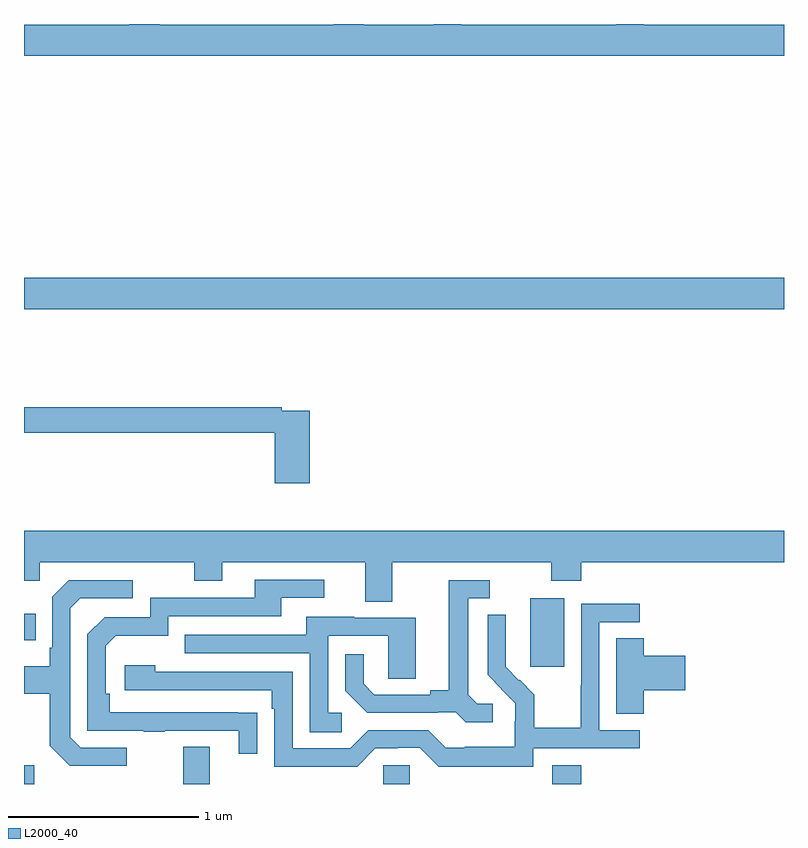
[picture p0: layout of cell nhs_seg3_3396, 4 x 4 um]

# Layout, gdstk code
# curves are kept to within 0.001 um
import gdstk
lib = gdstk.Library(unit=1e-6, precision=1e-09)
def R(c, l, rs):  # rectangles x0, y0, x1, y1
    for r in rs: c.add(gdstk.rectangle(r[:2], r[2:], *l))
def P(c, l, *ps):  # polygons
    for p in ps: c.add(gdstk.Polygon(p, *l))
L2000_40 = (2000, 40)

nhs_seg3_3396 = lib.new_cell('nhs_seg3_3396')
R(nhs_seg3_3396, L2000_40, [(287,714.4,287.053,714.499), (287.837,714.4,287.977,714.595), (288.891,714.4,289.029,714.498), (289.781,714.4,289.934,714.499), (289.664,715.017,289.843,715.378), (287,715.157,287.063,715.297), (287,716.9,291,717.064)])
P(nhs_seg3_3396, L2000_40, [(291,718.396),(290.263,718.396),(290.263,718.4),(290.116,718.4),(290.116,718.396),(289.302,718.396),(289.302,718.4),(289.156,718.4),(289.156,718.396),(288.789,718.396),(288.789,718.4),(288.629,718.4),(288.629,718.396),(287.714,718.396),(287.714,718.4),(287.554,718.4),(287.554,718.396),(287,718.396),(287,718.232),(291,718.232)],
  [(288.503,716.364),(288.356,716.364),(288.356,716.384),(287,716.384),(287,716.248),(288.32,716.248),(288.32,715.983),(288.503,715.983)],
  [(288.937,715.568),(289.774,715.568),(289.774,715.469),(289.934,715.469),(289.934,715.568),(291,715.568),(291,715.732),(287,715.732),(287,715.469),(287.082,715.469),(287.082,715.568),(287.896,715.568),(287.896,715.469),(288.043,715.469),(288.043,715.568),(288.797,715.568),(288.797,715.36),(288.937,715.36)],
  [(288.227,714.776),(287.45,714.777),(287.45,714.874),(287.43,714.874),(287.43,715.128),(287.483,715.181),(287.76,715.181),(287.76,715.284),(288.355,715.284),(288.355,715.38),(288.58,715.38),(288.58,715.476),(288.215,715.476),(288.215,715.38),(287.664,715.38),(287.664,715.278),(287.424,715.278),(287.334,715.188),(287.334,714.681),(287.629,714.681),(287.629,714.676),(287.741,714.676),(287.741,714.681),(288.131,714.681),(288.131,714.558),(288.227,714.558)],
  [(287.542,714.591),(287.298,714.591),(287.244,714.645),(287.244,715.326),(287.295,715.377),(287.572,715.377),(287.572,715.473),(287.235,715.473),(287.148,715.386),(287.148,715.117),(287.136,715.117),(287.136,715.021),(287,715.021),(287,714.874),(287.136,714.874),(287.136,714.601),(287.241,714.495),(287.542,714.495)],
  [(289.468,714.822),(289.386,714.822),(289.339,714.869),(289.339,715.377),(289.45,715.377),(289.45,715.473),(289.235,715.473),(289.235,714.893),(289.139,714.893),(289.139,714.87),(288.844,714.87),(288.787,714.927),(288.787,715.084),(288.69,715.084),(288.69,714.89),(288.806,714.774),(289.178,714.774),(289.178,714.777),(289.272,714.777),(289.324,714.725),(289.468,714.725)],
  [(289.68,714.588),(290.242,714.588),(290.242,714.684),(290.028,714.684),(290.028,715.251),(290.242,715.251),(290.242,715.35),(289.932,715.35),(289.932,714.92),(289.93,714.92),(289.93,714.697),(289.685,714.697),(289.685,714.871),(289.608,714.948),(289.605,714.945),(289.535,715.016),(289.536,715.292),(289.44,715.292),(289.44,714.974),(289.586,714.826),(289.586,714.729),(289.584,714.729),(289.584,714.595),(289.321,714.595),(289.321,714.591),(289.221,714.591),(289.128,714.684),(288.813,714.684),(288.717,714.588),(288.414,714.588),(288.414,714.99),(287.69,714.99),(287.69,715.024),(287.529,715.024),(287.529,714.894),(288.305,714.894),(288.305,714.797),(288.318,714.797),(288.318,714.492),(288.753,714.492),(288.849,714.588),(288.968,714.588),(288.968,714.591),(289.083,714.591),(289.183,714.491),(289.68,714.491)],
  [(288.673,714.774),(288.6,714.774),(288.6,715.179),(288.918,715.179),(288.918,714.955),(289.063,714.955),(289.063,715.275),(288.739,715.275),(288.739,715.279),(288.485,715.279),(288.485,715.185),(287.845,715.185),(287.845,715.089),(288.504,715.089),(288.504,714.673),(288.673,714.673)],
  [(290.261,714.893),(290.479,714.893),(290.479,715.076),(290.261,715.076),(290.261,715.166),(290.117,715.166),(290.117,714.769),(290.261,714.769)])

lib.write_gds('nhs_seg3_3396.gds')
